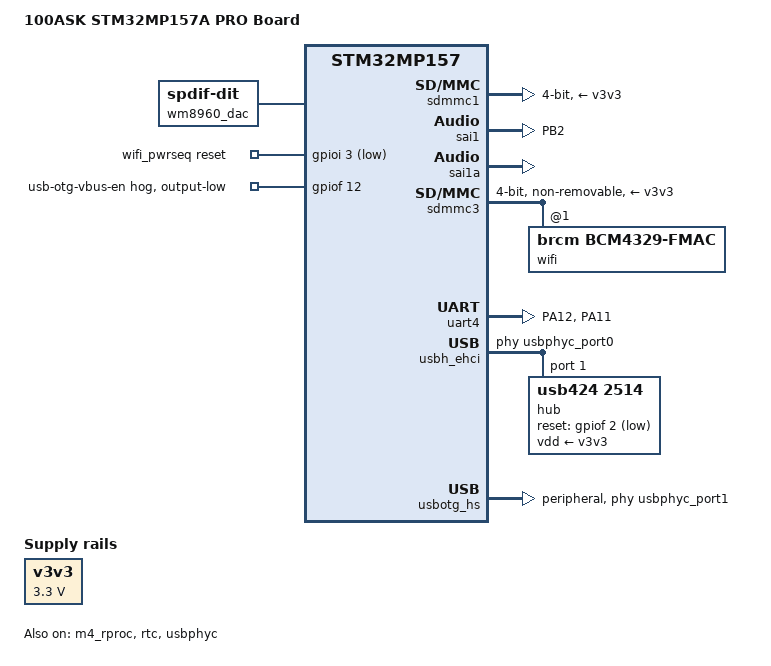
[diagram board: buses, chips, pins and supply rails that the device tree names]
// SPDX-License-Identifier: (GPL-2.0-or-later OR BSD-3-Clause)
/*
 * 100ASK STM32MP157 PRO carrier board with a MYIR MYC-YA157C core board.
 */

/dts-v1/;

#include <dt-bindings/rtc/rtc-stm32.h>
#include "stm32mp157a-myc-ya157c-som.dtsi"

/ {
	model = "100ASK STM32MP157A PRO Board";
	compatible = "100ask,stm32mp157a-pro", "myir,stm32mp157a-myc-ya157c", "st,stm32mp157";

	aliases {
		serial0 = &uart4;	/* debug console */
		mmc0 = &sdmmc1;		/* microSD */
		mmc1 = &sdmmc2;		/* eMMC: root=/dev/mmcblk1pN */
		mmc2 = &sdmmc3;		/* AP6236 WiFi (SDIO) */
	};

	chosen {
		stdout-path = "serial0:115200n8";
	};

	/* 3.3 V from the carrier's MP2143DJ, always on */
	v3v3: regulator-v3v3 {
		compatible = "regulator-fixed";
		regulator-name = "v3v3";
		regulator-min-microvolt = <3300000>;
		regulator-max-microvolt = <3300000>;
		regulator-always-on;
	};

	/*
	 * Cortex-M4 memory, laid out as on the ST DK boards and as linked by
	 * firmware/m4 (STM32MP157DACX_RAM.ld): code and data in SRAM1/SRAM2
	 * through the MCU alias at 0x10000000, the OpenAMP vrings and buffers
	 * at the start of SRAM3, the vector table in RETRAM.
	 */
	reserved-memory {
		#address-cells = <1>;
		#size-cells = <1>;
		ranges;

		mcuram2: mcuram2@10000000 {
			compatible = "shared-dma-pool";
			reg = <0x10000000 0x40000>;
			no-map;
		};

		vdev0vring0: vdev0vring0@10040000 {
			compatible = "shared-dma-pool";
			reg = <0x10040000 0x1000>;
			no-map;
		};

		vdev0vring1: vdev0vring1@10041000 {
			compatible = "shared-dma-pool";
			reg = <0x10041000 0x1000>;
			no-map;
		};

		vdev0buffer: vdev0buffer@10042000 {
			compatible = "shared-dma-pool";
			reg = <0x10042000 0x4000>;
			no-map;
		};

		mcuram: mcuram@30000000 {
			compatible = "shared-dma-pool";
			reg = <0x30000000 0x40000>;
			no-map;
		};

		retram: retram@38000000 {
			compatible = "shared-dma-pool";
			reg = <0x38000000 0x10000>;
			no-map;
		};
	};

	/*
	 * WM8960 audio. The codec is configured and kept powered by the M4
	 * firmware (I2C1), which also records through SAI1_B; SAI1_B is the
	 * clock master (MCLK, BCLK, LRCLK). Linux only plays through SAI1_A,
	 * synchronised to SAI1_B, so the codec appears here as a dummy DAI.
	 */
	wm8960_dac: audio-codec-dac {
		compatible = "linux,spdif-dit";
		#sound-dai-cells = <0>;
	};

	sound {
		compatible = "simple-audio-card";
		simple-audio-card,name = "WM8960-100ask";
		simple-audio-card,format = "i2s";
		simple-audio-card,bitclock-master = <&sound_codec>;
		simple-audio-card,frame-master = <&sound_codec>;

		simple-audio-card,cpu {
			sound-dai = <&sai1a>;
			dai-tdm-slot-num = <2>;
			dai-tdm-slot-width = <16>;
		};

		sound_codec: simple-audio-card,codec {
			sound-dai = <&wm8960_dac>;
		};
	};

	/* AP6236 WL_REG_ON on PI3 */
	wifi_pwrseq: wifi-pwrseq {
		compatible = "mmc-pwrseq-simple";
		pinctrl-names = "default";
		pinctrl-0 = <&wifi_pwrseq_pins_100ask>;
		reset-gpios = <&gpioi 3 GPIO_ACTIVE_LOW>;
		post-power-on-delay-ms = <150>;
		/* 32.768 kHz LPO, running before WL_REG_ON is released */
		clocks = <&rtc>;
		clock-names = "ext_clock";
	};
};

&pinctrl {
	/*
	 * PH4 is driven low as in the vendor 5.4 device tree; its use on
	 * the carrier is undocumented.
	 */
	wifi_pwrseq_pins_100ask: wifi-pwrseq-100ask-0 {
		pins {
			pinmux = <STM32_PINMUX('H', 4, GPIO)>;
			bias-pull-up;
			output-low;
			slew-rate = <0>;
		};
	};

	/* SAI1_SD_A: Linux playback data to WM8960 DACDAT */
	sai1a_pins_100ask: sai1a-100ask-0 {
		pins {
			pinmux = <STM32_PINMUX('B', 2, AF6)>; /* SAI1_SD_A */
			bias-disable;
			drive-push-pull;
			slew-rate = <0>;
		};
	};

	sai1a_sleep_pins_100ask: sai1a-100ask-sleep-0 {
		pins {
			pinmux = <STM32_PINMUX('B', 2, ANALOG)>; /* SAI1_SD_A */
		};
	};

	uart4_pins_100ask: uart4-100ask-0 {
		pins1 {
			pinmux = <STM32_PINMUX('A', 12, AF6)>; /* UART4_TX */
			bias-disable;
			drive-push-pull;
			slew-rate = <0>;
		};
		pins2 {
			pinmux = <STM32_PINMUX('A', 11, AF6)>; /* UART4_RX */
			bias-disable;
		};
	};

	uart4_idle_pins_100ask: uart4-100ask-idle-0 {
		pins1 {
			pinmux = <STM32_PINMUX('A', 12, ANALOG)>; /* UART4_TX */
		};
		pins2 {
			pinmux = <STM32_PINMUX('A', 11, AF6)>; /* UART4_RX */
			bias-disable;
		};
	};

	uart4_sleep_pins_100ask: uart4-100ask-sleep-0 {
		pins {
			pinmux = <STM32_PINMUX('A', 12, ANALOG)>, /* UART4_TX */
				 <STM32_PINMUX('A', 11, ANALOG)>; /* UART4_RX */
		};
	};
};

/*
 * DMA2 belongs to the M4 (SAI1_B capture runs on it, also while Linux is
 * suspended), as in ST's *-m4-examples boards. Linux keeps DMA1.
 * The DMAMUX driver numbers its channels by the order of dma-masters, and
 * DMAMUX1 channels 0-7 are wired to DMA1, 8-15 to DMA2: a list that starts
 * with DMA2 would program DMA1's mux channels, including the M4's.
 */
&dma2 {
	status = "disabled";
};

&dmamux1 {
	dma-masters = <&dma1>;
	dma-channels = <8>;
};

&gpiof {
	/*
	 * PF12 enables the SY6280 switch that would drive 5 V onto the
	 * Type-C VBUS. The OTG port is device-only (see &usbotg_hs), so keep
	 * the switch off: the host supplies VBUS.
	 */
	usb-otg-vbus-off-hog {
		gpio-hog;
		gpios = <12 GPIO_ACTIVE_HIGH>;
		output-low;
		line-name = "usb-otg-vbus-en";
	};
};

&ipcc {
	status = "okay";
};

/*
 * Cortex-M4, loaded and started by Linux (remoteproc). The MCU reset and
 * hold-boot lines come from SP_MIN over SCMI (stm32mp15-sp-min-scmi.dtsi).
 * The M4 keeps running while Linux is in s2idle: its RPMsg doorbell wakes
 * Linux through the IPCC "rx" interrupt (EXTI 61, wakeup-source in
 * stm32mp151.dtsi), and wakeup-source here also arms the M4 watchdog
 * interrupt (EXTI 68) as a wake source.
 */
&m4_rproc {
	memory-region = <&retram>, <&mcuram>, <&mcuram2>, <&vdev0vring0>,
			<&vdev0vring1>, <&vdev0buffer>;
	mboxes = <&ipcc 0>, <&ipcc 1>, <&ipcc 2>;
	mbox-names = "vq0", "vq1", "shutdown";
	interrupt-parent = <&exti>;
	interrupts = <68 1>;
	wakeup-source;
	status = "okay";
};

&pwr_regulators {
	vdd-supply = <&v3v3>;
	vdd_3v3_usbfs-supply = <&v3v3>;
};

/* microSD slot */
/*
 * The AP6236 sleep clock (LPO_32K_CLK) is wired to PI8, the RTC low-speed
 * clock output on RTC_OUT2_RMP; the carrier's footprint for a separate
 * 32.768 kHz oscillator is not populated. LSCO forwards rtc_ck, which TF-A
 * clocks from the LSE crystal (CLK_RTC_LSE).
 */
&rtc {
	#clock-cells = <0>;
	st,lsco = <RTC_OUT2_RMP>;
	pinctrl-names = "default";
	pinctrl-0 = <&rtc_out2_rmp_pins_a>;
	status = "okay";
};

&sdmmc1 {
	pinctrl-names = "default", "opendrain", "sleep";
	pinctrl-0 = <&sdmmc1_b4_pins_a>;
	pinctrl-1 = <&sdmmc1_b4_od_pins_a>;
	pinctrl-2 = <&sdmmc1_b4_sleep_pins_a>;
	broken-cd;
	st,neg-edge;
	bus-width = <4>;
	vmmc-supply = <&v3v3>;
	status = "okay";
};

/*
 * SAI1: Linux owns only block A (playback). Block B and its pins
 * (PF6-PF9) are driven by the M4. The kernel clock comes from PLL3_Q
 * (24.576 MHz); the M4 firmware relies on that for MCKDIV = 2.
 */
&sai1 {
	pinctrl-names = "default", "sleep";
	pinctrl-0 = <&sai1a_pins_100ask>;
	pinctrl-1 = <&sai1a_sleep_pins_100ask>;
	clocks = <&rcc SAI1>, <&rcc PLL3_Q>, <&rcc PLL3_R>;
	clock-names = "pclk", "x8k", "x11k";
	assigned-clocks = <&rcc SAI1_K>;
	assigned-clock-parents = <&rcc PLL3_Q>;
	status = "okay";
};

&sai1a {
	dma-names = "tx";
	st,sync = <&sai1b 1>;
	status = "okay";
};

/* AP6236 WiFi (BCM43436B0), brcmfmac over SDIO */
&sdmmc3 {
	pinctrl-names = "default", "opendrain", "sleep";
	pinctrl-0 = <&sdmmc3_b4_pins_a>;
	pinctrl-1 = <&sdmmc3_b4_od_pins_a>;
	pinctrl-2 = <&sdmmc3_b4_sleep_pins_a>;
	non-removable;
	cap-power-off-card;
	cap-sdio-irq;
	keep-power-in-suspend;
	st,neg-edge;
	bus-width = <4>;
	max-frequency = <25000000>;
	vmmc-supply = <&v3v3>;
	mmc-pwrseq = <&wifi_pwrseq>;
	#address-cells = <1>;
	#size-cells = <0>;
	status = "okay";

	wifi@1 {
		compatible = "brcm,bcm4329-fmac";
		reg = <1>;
		clocks = <&rtc>;
		clock-names = "lpo";
	};
};

/* debug console, routed to the carrier's USB-serial bridge */
&uart4 {
	pinctrl-names = "default", "sleep", "idle";
	pinctrl-0 = <&uart4_pins_100ask>;
	pinctrl-1 = <&uart4_sleep_pins_100ask>;
	pinctrl-2 = <&uart4_idle_pins_100ask>;
	/delete-property/dmas;
	/delete-property/dma-names;
	status = "okay";
};

/*
 * USB host: USBH port 0 goes to a USB2514 hub (reset on PF2, pull-up not
 * fitted). Downstream: the 4G module, an RTL8152 Ethernet and two USB-A
 * sockets, all VBUS from the 5 V rail. The onboard-usb-hub driver
 * releases the reset before the hub is enumerated.
 */
&usbh_ehci {
	phys = <&usbphyc_port0>;
	#address-cells = <1>;
	#size-cells = <0>;
	status = "okay";

	hub@1 {
		compatible = "usb424,2514";
		reg = <1>;
		reset-gpios = <&gpiof 2 GPIO_ACTIVE_LOW>;
		vdd-supply = <&v3v3>;
	};
};

/*
 * USB OTG on the Type-C socket, device only. The FUSB302 port controller
 * sits on I2C1, which the M4 owns for the codec, so Linux cannot run it;
 * left unconfigured it presents Rd on CC, so a host sees a device and
 * supplies VBUS. Without the controller there is no VBUS/ID detection:
 * the B-session is set through the role switch instead (userspace writes
 * "device" to /sys/class/usb_role/<...>/role, see S45usbgadget), as
 * U-Boot does with u-boot,force-b-session-valid.
 */
&usbotg_hs {
	phys = <&usbphyc_port1 0>;
	phy-names = "usb2-phy";
	dr_mode = "peripheral";
	usb-role-switch;
	role-switch-default-mode = "peripheral";
	/*
	 * Dedicated TX FIFOs, in 32-bit words. A high-speed bulk IN endpoint
	 * needs one of at least 128 words (512-byte packets); the SoC default
	 * (256 16 16 ...) has only one, so a gadget with two bulk IN endpoints
	 * (ECM + ACM, see S45usbgadget) fails with "No suitable fifo found".
	 * 352 words in total, within the 408 left after the RX and NP TX FIFOs.
	 */
	g-tx-fifo-size = <128 128 16 16 16 16 16 16>;
	status = "okay";
};

&usbphyc {
	status = "okay";
};

&usbphyc_port0 {
	phy-supply = <&v3v3>;
};

&usbphyc_port1 {
	phy-supply = <&v3v3>;
};
